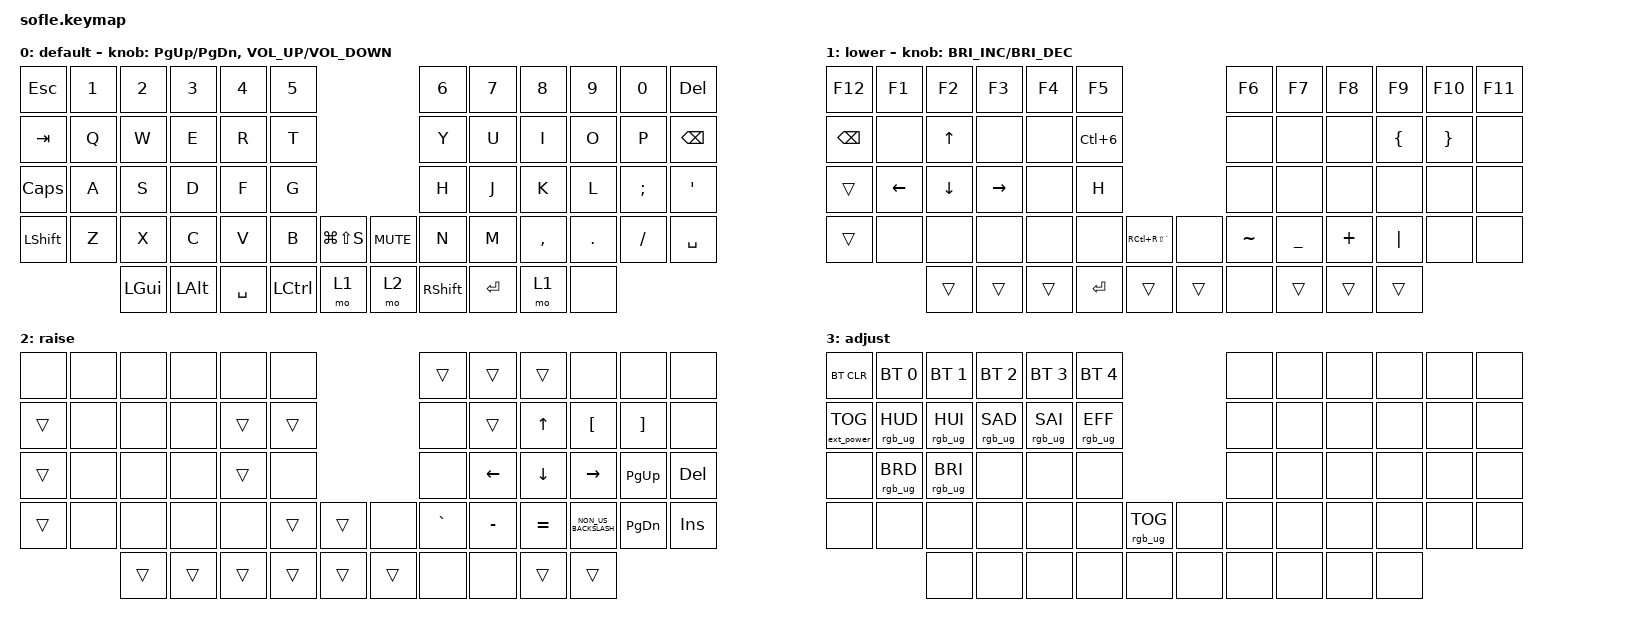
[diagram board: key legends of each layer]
/*
 * Copyright (c) 2020 The ZMK Contributors
 *
 * SPDX-License-Identifier: MIT
 */

#include <behaviors.dtsi>
#include <dt-bindings/zmk/bt.h>
#include <dt-bindings/zmk/ext_power.h>
#include <dt-bindings/zmk/keys.h>
#include <dt-bindings/zmk/rgb.h>

#define BASE 0
#define LOWER 1
#define RAISE 2
#define ADJUST 3

/ {
    // Activate ADJUST layer by pressing raise and lower

    conditional_layers {
        compatible = "zmk,conditional-layers";

        adjust_layer {
            if-layers = <1 2>;
            then-layer = <3>;
        };
    };

    macros {
        new_macro: new_macro {
            compatible = "zmk,behavior-macro";
            #binding-cells = <0>;
            bindings = <&none>;
            label = "NEW_MACRO";
        };
    };

    keymap {
        compatible = "zmk,keymap";

        default_layer {
            label = "default";

            // ------------------------------------------------------------------------------------------------------------
            // |   `   |  1  |  2  |  3   |  4   |  5   |                   |  6   |  7    |  8    |  9   |   0   |       |
            // |  ESC  |  Q  |  W  |  E   |  R   |  T   |                   |  Y   |  U    |  I    |  O   |   P   | BKSPC |
            // |  TAB  |  A  |  S  |  D   |  F   |  G   |                   |  H   |  J    |  K    |  L   |   ;   |   '   |
            // | SHIFT |  Z  |  X  |  C   |  V   |  B   |  MUTE  |  |       |  N   |  M    |  ,    |  .   |   /   | SHIFT |
            //               | GUI | ALT  | CTRL | LOWER|  ENTER |  | SPACE | RAISE| CTRL  | ALT   | GUI  |

            bindings = <
&kp ESC         &kp N1  &kp N2        &kp N3    &kp N4     &kp N5                                         &kp N6           &kp N7     &kp N8     &kp N9   &kp N0    &kp DELETE
&kp TAB         &kp Q   &kp W         &kp E     &kp R      &kp T                                          &kp Y            &kp U      &kp I      &kp O    &kp P     &kp BSPC
&kp CAPS        &kp A   &kp S         &kp D     &kp F      &kp G                                          &kp H            &kp J      &kp K      &kp L    &kp SEMI  &kp SQT
&kp LEFT_SHIFT  &kp Z   &kp X         &kp C     &kp V      &kp B             &kp LG(LS(S))    &kp K_MUTE  &kp N            &kp M      &kp COMMA  &kp DOT  &kp FSLH  &kp SPACE
                        &kp LEFT_GUI  &kp LALT  &kp SPACE  &kp LEFT_CONTROL  &mo 1            &mo 2       &kp RIGHT_SHIFT  &kp ENTER  &mo 1      &none
            >;

            sensor-bindings =
                <&inc_dec_kp PAGE_UP PAGE_DOWN>,
                <&inc_dec_kp C_VOLUME_UP C_VOLUME_DOWN>;
        };

        lower_layer {
            label = "lower";

            // TODO: Some binds are waiting for shifted keycode support.
            // ------------------------------------------------------------------------------------------------------------
            // |       |  F1 |  F2 |  F3  |  F4  |  F5  |                   |  F6  |  F7   |  F8   |  F9  |  F10  |  F11  |
            // |   `   |  1  |  2  |  3   |  4   |  5   |                   |  6   |  7    |  8    |  9   |   0   |  F12  |
            // |       |  !  |  @  |  #   |  $   |  %   |                   |  ^   |  &    |  *    |  (   |   )   |   |   |
            // |       |  =  |  -  |  +   |  {   |  }   |        |  |       |  [   |  ]    |  ;    |  :   |   \   |       |
            //               |     |      |      |      |        |  |       |      |       |       |      |

            bindings = <
&kp F12        &kp F1          &kp F2          &kp F3           &kp F4  &kp F5                                         &kp F6     &kp F7     &kp F8    &kp F9    &kp F10   &kp F11
&kp BACKSPACE  &none           &kp UP_ARROW    &none            &none   &kp LC(NUMBER_6)                               &none      &none      &none     &kp LBRC  &kp RBRC  &none
&trans         &kp LEFT_ARROW  &kp DOWN_ARROW  &kp RIGHT_ARROW  &none   &kp H                                          &none      &none      &none     &none     &none     &none
&trans         &none           &none           &none            &none   &none             &kp RC(RS(GRAVE))    &none   &kp TILDE  &kp UNDER  &kp PLUS  &kp PIPE  &none     &none
                               &trans          &trans           &trans  &kp ENTER         &trans               &trans  &none      &trans     &trans    &trans
            >;

            sensor-bindings = <&inc_dec_kp C_BRIGHTNESS_INC C_BRIGHTNESS_DEC>;
        };

        raise_layer {
            label = "raise";

            // ------------------------------------------------------------------------------------------------------------
            // | BTCLR | BT1  | BT2  |  BT3  |  BT4  |  BT5 |                |      |      |       |      |       |       |
            // |       | INS  | PSCR | GUI   |       |      |                | PGUP |      |   ^   |      |       |       |
            // |       | ALT  | CTRL | SHIFT |       | CAPS |                | PGDN |   <- |   v   |  ->  |  DEL  | BKSPC |
            // |       | UNDO | CUT  | COPY  | PASTE |      |      |  |      |      |      |       |      |       |       |
            //                |      |       |       |      |      |  |      |      |      |       |      |

            bindings = <
&none   &none  &none   &none   &none   &none                     &trans     &trans     &trans     &none                 &none              &none
&trans  &none  &none   &none   &trans  &trans                    &none      &trans     &kp UP     &kp LEFT_BRACKET      &kp RIGHT_BRACKET  &none
&trans  &none  &none   &none   &trans  &none                     &none      &kp LEFT   &kp DOWN   &kp RIGHT             &kp PAGE_UP        &kp DELETE
&trans  &none  &none   &none   &none   &trans  &trans    &none   &kp GRAVE  &kp MINUS  &kp EQUAL  &kp NON_US_BACKSLASH  &kp PAGE_DOWN      &kp INSERT
               &trans  &trans  &trans  &trans  &trans    &trans  &none      &none      &trans     &trans
            >;
        };

        adjust_layer {
            // ----------------------------------------------------------------------------------------------------------------------------
            // | BTCLR  |  BT1    |  BT2    |   BT3   |   BT4   |   BT5   |                  |      |      |       |      |       |       |
            // | EXTPWR | RGB_HUD | RGB_HUI | RGB_SAD | RGB_SAI | RGB_EFF |                  |      |      |       |      |       |       |
            // |        | RGB_BRD | RGB_BRI |         |         |         |                  |      |      |       |      |       |       |
            // |        |         |         |         |         |         | RGB_TOG | |      |      |      |       |      |       |       |
            //                    |         |         |         |         |         | |      |      |      |       |      |

            label = "adjust";
            bindings = <
&bt BT_CLR         &bt BT_SEL 0     &bt BT_SEL 1     &bt BT_SEL 2     &bt BT_SEL 3     &bt BT_SEL 4                               &none  &none  &none  &none  &none  &none
&ext_power EP_TOG  &rgb_ug RGB_HUD  &rgb_ug RGB_HUI  &rgb_ug RGB_SAD  &rgb_ug RGB_SAI  &rgb_ug RGB_EFF                            &none  &none  &none  &none  &none  &none
&none              &rgb_ug RGB_BRD  &rgb_ug RGB_BRI  &none            &none            &none                                      &none  &none  &none  &none  &none  &none
&none              &none            &none            &none            &none            &none            &rgb_ug RGB_TOG    &none  &none  &none  &none  &none  &none  &none
                                    &none            &none            &none            &none            &none              &none  &none  &none  &none  &none
            >;
        };
    };
};
